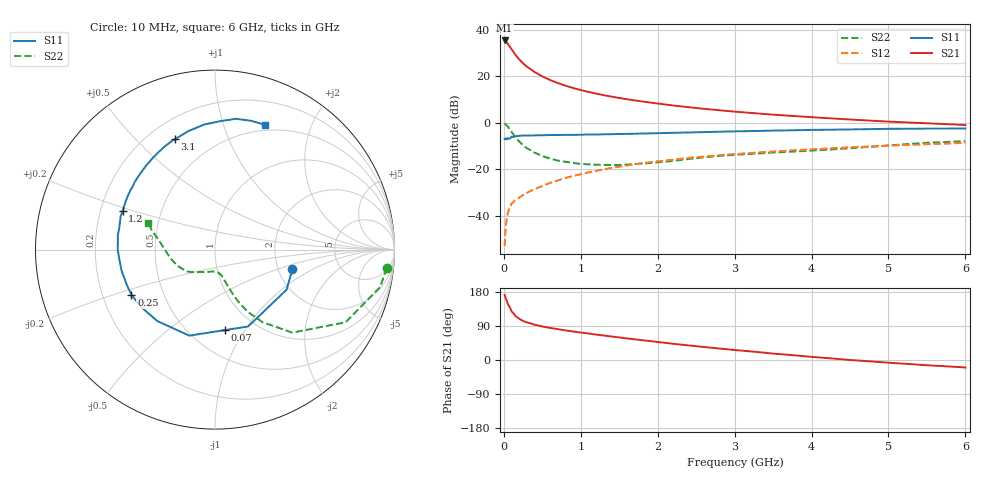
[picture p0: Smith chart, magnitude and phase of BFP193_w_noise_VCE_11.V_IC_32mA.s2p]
! Infineon Technologies  Discrete & RF Semiconductors
! BFP193
! VCE =  11. V,  IC =  32 mA
! Common Emitter S-Parameters:  Jan 2017
# GHz  S  MA  R  50
!  f  S11  S21  S12  S22
! GHz  MAG  ANG  MAG  ANG  MAG  ANG  MAG  ANG
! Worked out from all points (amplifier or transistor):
!   77 points, 10 MHz to 6 GHz, reference 50 ohm
!   highest |S21| = 35.4 dB at 10 MHz (marker M1)
!   |S21| within 3 dB of that: start of sweep to 83.77 MHz
!   unconditionally stable (mu >= 1): 819.7 MHz to 2.458 GHz
!   at 130 MHz: K = 0.47, MSG = 32.1 dB, |S12| = -33.9 dB
!   at 2.2 GHz: K = 1.01, MAG = 10.9 dB, |S12| = -15.9 dB
!   at 6 GHz: K = 0.90, MSG = 3.9 dB, |S12| = -8.7 dB
!   lowest NFmin = 1.24 dB at 450 MHz
!   S11 on the Smith chart (normalised r, x): 10 MHz: 2.39, -0.66; 70 MHz: 0.73, -0.82; 250 MHz: 0.33, -0.23; 1.2 GHz: 0.29, +0.18; 3.1 GHz: 0.30, +0.66; 6 GHz: 0.44, +1.38
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0.01  0.4449 -14.4  58.8 172.3  0.0022 74.6  0.9629 -6.1
0.02  0.4571 -29.3  58.05 166.0  0.0046 81.7  0.943 -12.8
0.05  0.4664 -66.7  50.73 148.3  0.0113 66.5  0.833 -29.1
0.07  0.452 -83.2  45.08 141.7  0.0139 62.1  0.7441 -35.1
0.1  0.5003 -106.6  38.14 128.3  0.018 57.9  0.6313 -47.1
0.15  0.5116 -128.9  28.96 116.3  0.0215 55.0  0.4848 -56.7
0.2  0.5214 -142.2  23 108.7  0.0243 56.2  0.3922 -62.2
0.25  0.5292 -151.6  18.92 103.0  0.0278 55.6  0.3283 -65.3
0.3  0.5294 -158.2  16.01 99.2  0.0309 57.4  0.2822 -67.6
0.4  0.5336 -167.4  12.26 93.0  0.0372 59.8  0.2261 -70.0
0.5  0.536 -174.5  9.892 88.5  0.0434 62.0  0.1915 -71.9
0.6  0.542 -179.9  8.311 84.7  0.0505 62.6  0.1687 -73.8
0.7  0.543 175.5  7.143 81.5  0.0568 64.0  0.1529 -75.1
0.9  0.5466 167.6  5.575 75.3  0.0714 63.9  0.1362 -79.2
1.1  0.5571 160.7  4.598 69.9  0.0851 63.5  0.127 -84.2
1.2  0.5576 157.4  4.22 67.1  0.092 63.1  0.1243 -87.0
1.6  0.5747 145.6  3.197 57.0  0.1199 59.8  0.1255 -101.3
2.1  0.5989 131.9  2.459 45.3  0.1535 54.6  0.1453 -120.8
3.1  0.6543 110.0  1.678 24.6  0.216 43.3  0.208 -148.1
4.1  0.7019 93.5  1.283 6.7  0.2722 32.1  0.2566 -171.2
5.1  0.7387 79.6  1.037 -8.4  0.3248 20.9  0.332 168.0
6  0.7487 68.3  0.892 -19.8  0.3671 10.9  0.4 157.9
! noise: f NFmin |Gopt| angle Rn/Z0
0.45  1.24  0.35  -173  0.08
0.9  1.3  0.39  -171  0.07
1.9  1.92  0.58  -136  0.17
2.4  2.25  0.62  -121  0.38
